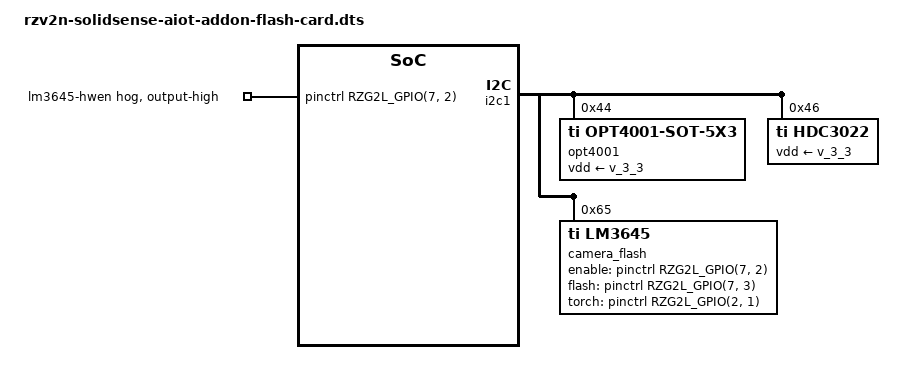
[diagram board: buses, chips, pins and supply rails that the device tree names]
// SPDX-License-Identifier: (GPL-2.0-only OR BSD-2-Clause)
/*
 * Device Tree overlay for the SolidRun SolidSense AIOT Flash Card (J6)
 * on RZ/V2N.
 *
 * Add-on card devices on carrier I2C1:
 *   - LM3645YCGR  Camera Flash LED driver  @ 0x65
 *   - OPT4001DTSR Ambient Light Sensor     @ 0x44
 *   - HDC3022DEJR Humidity/Temperature     @ 0x46
 *
 * Apply on top of r9a09g056n48-solidsense-aiot.dtb.
 *
 * Copyright (C) 2026 SolidRun Ltd.
 */

/dts-v1/;
/plugin/;

#include <dt-bindings/gpio/gpio.h>
#include <dt-bindings/leds/common.h>
#include <dt-bindings/pinctrl/rzg2l-pinctrl.h>

&i2c1 {
	#address-cells = <1>;
	#size-cells = <0>;

	/* OPT4001 Ambient Light Sensor */
	opt4001: light-sensor@44 {
		status = "okay";
		compatible = "ti,opt4001-sot-5x3";
		reg = <0x44>;
		vdd-supply = <&v_3_3>;
	};

	/* HDC3022 Humidity and Temperature Sensor */
	hdc3022: humidity-sensor@46 {
		status = "okay";
		compatible = "ti,hdc3022";
		reg = <0x46>;
		vdd-supply = <&v_3_3>;
	};

	/* LM3645 Camera Flash LED Driver */
	camera_flash: flash-led@65 {
		status = "okay";
		compatible = "ti,lm3645";
		reg = <0x65>;  /* Default I2C address */

		#address-cells = <1>;
		#size-cells = <0>;

		/* Enable pin (HWEN) */
		enable-gpios = <&pinctrl RZG2L_GPIO(7, 2) GPIO_ACTIVE_HIGH>;
		/* Flash strobe pin */
		flash-gpios = <&pinctrl RZG2L_GPIO(7, 3) GPIO_ACTIVE_HIGH>;
		/* Torch pin (optional) */
		torch-gpios = <&pinctrl RZG2L_GPIO(2, 1) GPIO_ACTIVE_HIGH>;

		/* LED1 - Flash LED */
		led@0 {
			reg = <0>;
			function = LED_FUNCTION_FLASH;
			color = <LED_COLOR_ID_WHITE>;
			led-max-microamp = <1500000>;     /* 1.5A max flash current */
			flash-max-microamp = <1500000>;
			flash-max-timeout-us = <1024000>; /* Max 1024ms */
		};

		/* LED2 - Torch LED (optional) */
		led@1 {
			reg = <1>;
			function = LED_FUNCTION_TORCH;
			color = <LED_COLOR_ID_WHITE>;
			led-max-microamp = <376000>;      /* 376mA max torch current */
		};
	};
};

&pinctrl {
	lm3645_hwen_hog: lm3645-hwen-hog {
		gpio-hog;
		gpios = <RZG2L_GPIO(7, 2) GPIO_ACTIVE_HIGH>;  /* HWEN */
		output-high;
		line-name = "lm3645-hwen";
	};
};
